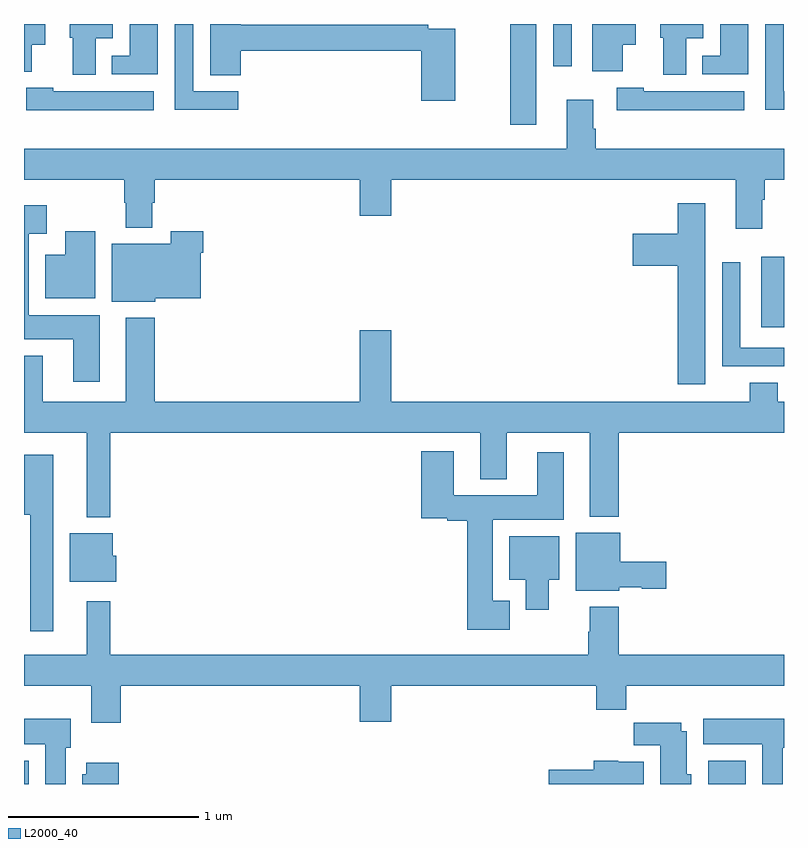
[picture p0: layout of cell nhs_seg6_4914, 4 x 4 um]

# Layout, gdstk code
import gdstk
lib = gdstk.Library(unit=1e-6, precision=1e-09)
def R(c, l, rs):  # rectangles x0, y0, x1, y1
    for r in rs: c.add(gdstk.rectangle(r[:2], r[2:], *l))
def P(c, l, *ps):  # polygons
    for p in ps: c.add(gdstk.Polygon(p, *l))
L2000_40 = (2000, 40)

nhs_seg6_4914 = lib.new_cell('nhs_seg6_4914')
R(nhs_seg6_4914, L2000_40, [(403,933.5,403.024,933.622), (406.601,933.5,406.798,933.622), (406.88,935.903,407,936.274), (405.559,936.969,405.697,937.5), (405.786,937.278,405.882,937.5)])
P(nhs_seg6_4914, L2000_40, [(406.15,937.391),(406.219,937.391),(406.219,937.5),(405.992,937.5),(405.992,937.251),(406.15,937.251)],
  [(406.486,937.424),(406.576,937.424),(406.576,937.5),(406.349,937.5),(406.349,937.428),(406.364,937.428),(406.364,937.232),(406.486,937.232)],
  [(405.27,937.476),(405.128,937.476),(405.128,937.496),(404.14,937.496),(404.14,937.5),(403.979,937.5),(403.979,937.231),(404.14,937.231),(404.14,937.36),(405.092,937.36),(405.092,937.095),(405.27,937.095)],
  [(407,937.146),(406.998,937.146),(406.998,937.5),(406.902,937.5),(406.902,937.049),(407,937.049)],
  [(403.042,937.391),(403.111,937.391),(403.111,937.5),(403,937.5),(403,937.25),(403.042,937.25)],
  [(404.128,937.146),(403.89,937.146),(403.89,937.5),(403.794,937.5),(403.794,937.049),(404.128,937.049)],
  [(403.378,937.424),(403.468,937.424),(403.468,937.5),(403.241,937.5),(403.241,937.428),(403.256,937.428),(403.256,937.232),(403.378,937.232)],
  [(403.705,937.5),(403.556,937.5),(403.556,937.332),(403.463,937.332),(403.463,937.236),(403.705,937.236)],
  [(406.813,937.5),(406.664,937.5),(406.664,937.332),(406.571,937.332),(406.571,937.236),(406.813,937.236)],
  [(403.684,937.147),(403.155,937.147),(403.155,937.165),(403.011,937.165),(403.011,937.046),(403.684,937.046)],
  [(406.792,937.147),(406.263,937.147),(406.263,937.165),(406.119,937.165),(406.119,937.046),(406.792,937.046)],
  [(406.885,936.574),(406.898,936.574),(406.898,936.68),(407,936.68),(407,936.844),(406.01,936.844),(406.01,936.95),(405.997,936.95),(405.997,937.102),(405.857,937.102),(405.857,936.844),(403,936.844),(403,936.68),(403.528,936.68),(403.528,936.56),(403.535,936.56),(403.535,936.428),(403.675,936.428),(403.675,936.56),(403.688,936.56),(403.688,936.68),(404.768,936.68),(404.768,936.492),(404.932,936.492),(404.932,936.68),(406.745,936.68),(406.745,936.423),(406.885,936.423)],
  [(406.585,936.556),(406.442,936.556),(406.442,936.397),(406.203,936.397),(406.203,936.227),(406.442,936.227),(406.442,935.604),(406.585,935.604)],
  [(403.399,935.968),(403.024,935.968),(403.024,936.395),(403.12,936.395),(403.12,936.547),(403,936.547),(403,935.84),(403.259,935.84),(403.259,935.616),(403.399,935.616)],
  [(403.692,936.056),(403.93,936.056),(403.93,936.296),(403.943,936.296),(403.943,936.409),(403.772,936.409),(403.772,936.343),(403.463,936.343),(403.463,936.038),(403.692,936.038)],
  [(403.375,936.409),(403.217,936.409),(403.217,936.286),(403.112,936.286),(403.112,936.056),(403.375,936.056)],
  [(407,935.796),(406.771,935.796),(406.771,935.797),(406.77,935.797),(406.77,936.247),(406.674,936.247),(406.674,935.7),(407,935.7)],
  [(403.099,935.755),(403,935.755),(403,935.348),(403.331,935.348),(403.331,934.904),(403.453,934.904),(403.453,935.348),(405.401,935.348),(405.401,935.105),(405.541,935.105),(405.541,935.348),(405.977,935.348),(405.977,934.907),(406.13,934.907),(406.13,935.348),(407,935.348),(407,935.512),(406.968,935.512),(406.968,935.611),(406.82,935.611),(406.82,935.512),(404.932,935.512),(404.932,935.887),(404.768,935.887),(404.768,935.512),(403.688,935.512),(403.688,935.953),(403.535,935.953),(403.535,935.512),(403.099,935.512)],
  [(405.556,934.465),(405.466,934.465),(405.466,934.892),(405.841,934.892),(405.841,935.245),(405.701,935.245),(405.701,935.02),(405.262,935.02),(405.262,935.251),(405.092,935.251),(405.092,934.898),(405.228,934.898),(405.228,934.886),(405.332,934.886),(405.332,934.313),(405.556,934.313)],
  [(403.153,935.233),(403,935.233),(403,934.918),(403.032,934.918),(403.032,934.305),(403.153,934.305)],
  [(406.134,934.535),(406.251,934.535),(406.251,934.528),(406.381,934.528),(406.381,934.67),(406.138,934.67),(406.138,934.822),(405.905,934.822),(405.905,934.517),(406.134,934.517)],
  [(403.486,934.701),(403.468,934.701),(403.468,934.819),(403.241,934.819),(403.241,934.565),(403.486,934.565)],
  [(405.763,934.574),(405.817,934.574),(405.817,934.804),(405.554,934.804),(405.554,934.574),(405.641,934.574),(405.641,934.416),(405.763,934.416)],
  [(403.508,934.016),(404.768,934.016),(404.768,933.828),(404.932,933.828),(404.932,934.016),(406.013,934.016),(406.013,933.892),(406.169,933.892),(406.169,934.016),(407,934.016),(407,934.18),(406.13,934.18),(406.13,934.432),(405.977,934.432),(405.977,934.301),(405.97,934.301),(405.97,934.18),(403.453,934.18),(403.453,934.462),(403.331,934.462),(403.331,934.18),(403,934.18),(403,934.016),(403.355,934.016),(403.355,933.822),(403.508,933.822)],
  [(406.993,933.69),(407,933.69),(407,933.844),(406.574,933.844),(406.574,933.71),(406.886,933.71),(406.886,933.5),(406.993,933.5)],
  [(403.219,933.69),(403.246,933.69),(403.246,933.844),(403,933.844),(403,933.71),(403.112,933.71),(403.112,933.5),(403.219,933.5)],
  [(406.513,933.552),(406.489,933.552),(406.489,933.778),(406.459,933.778),(406.459,933.823),(406.21,933.823),(406.21,933.704),(406.349,933.704),(406.349,933.5),(406.513,933.5)],
  [(406.261,933.616),(406.128,933.616),(406.128,933.622),(405.998,933.622),(405.998,933.576),(405.762,933.576),(405.762,933.5),(406.261,933.5)],
  [(403.499,933.613),(403.328,933.613),(403.328,933.552),(403.307,933.552),(403.307,933.5),(403.499,933.5)])

lib.write_gds('nhs_seg6_4914.gds')
